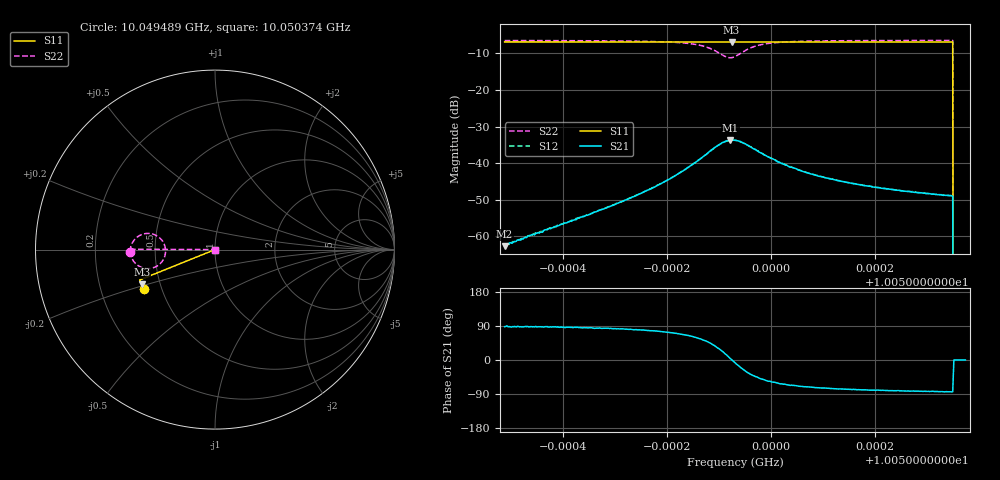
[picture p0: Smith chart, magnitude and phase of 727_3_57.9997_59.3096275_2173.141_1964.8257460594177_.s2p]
#  HZ  S  RI  R  50.00
! Rohde & Schwarz Vector Network Analyzer
! Rohde-Schwarz,ZNB20-2Port,1311601062101988,3.16
! Created: UTC 3/21/2024, 1:22:56 AM
! freq[Hz]  re:S11  im:S11  re:S21  im:S21  re:S12  im:S12  re:S22  im:S22
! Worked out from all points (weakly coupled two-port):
!   401 points, 10.049489 GHz to 10.050374 GHz, reference 50 ohm
!   highest |S21| = -33.65 dB at 10.049923 GHz (marker M1); lowest = -62.7 dB at 10.049489 GHz (marker M2)
!   lowest |S11| = -6.9 dB at 10.049925 GHz (marker M3), VSWR 2.64, Z = 19.7 - j9.61 ohm
!   |S11| at or under -10 dB: 10.05035 GHz to end of sweep
!   |S22| runs from - to -6.5 dB; largest |S21 - S12| = 0.0015
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1.00494887e10  -0.3969 -0.2202  2.64e-05 0.000734  -2.02e-05 0.000777  -0.4736 -0.0112
1.00494975e10  -0.3971 -0.2198  2.61e-05 0.000808  -3.18e-05 0.000777  -0.4736 -0.0104
1.0049637e10  -0.4013 -0.2114  0.00016 0.00184  5e-05 0.00184  -0.4708 0.00866
1.00497344e10  -0.4041 -0.2054  0.000584 0.00342  0.000347 0.00342  -0.4644 0.0295
1.00497853e10  -0.4054 -0.2022  0.00124 0.00492  0.000995 0.00502  -0.4552 0.0466
1.00498119e10  -0.4061 -0.2004  0.00203 0.00612  0.00173 0.00626  -0.4458 0.0584
1.00498473e10  -0.4068 -0.198  0.00427 0.00832  0.00386 0.00853  -0.4207 0.0782
1.00498827e10  -0.4074 -0.1955  0.0101 0.0103  0.00963 0.0108  -0.3611 0.0896
1.00499049e10  -0.4071 -0.1942  0.0168 0.00798  0.0162 0.00884  -0.3017 0.0589
1.00499137e10  -0.407 -0.1941  0.0192 0.00524  0.0189 0.00624  -0.2829 0.0296
1.00499226e10  -0.4071 -0.1938  0.0207 0.00129  0.0204 0.00259  -0.2754 -0.00755
1.00499248e10  -0.407 -0.1939  0.0207 0.000389  0.0205 0.00164  -0.2759 -0.017
1.00499314e10  -0.4071 -0.1937  0.0204 -0.00254  0.0205 -0.00117  -0.2825 -0.0446
1.00499536e10  -0.4082 -0.1934  0.0153 -0.0093  0.0159 -0.00824  -0.34 -0.0998
1.00499846e10  -0.4097 -0.1918  0.00849 -0.0104  0.00908 -0.00992  -0.4085 -0.0996
1.00500333e10  -0.4116 -0.1887  0.00371 -0.00831  0.00437 -0.00807  -0.45 -0.0695
1.00500797e10  -0.4129 -0.1857  0.00219 -0.00672  0.00258 -0.0066  -0.4632 -0.0488
1.00501506e10  -0.4148 -0.1814  0.00119 -0.00526  0.00147 -0.00521  -0.4705 -0.0287
1.00502281e10  -0.4168 -0.1766  0.000703 -0.00435  0.000988 -0.0043  -0.4735 -0.014
1.00503454e10  -0.4194 -0.1692  0.000394 -0.0036  0.000584 -0.00354  -0.4749 0.00176
1.00503565e10  0 0  0 0  0 0  0 0
1.00503742e10  0 0  0 0  0 0  0 0
